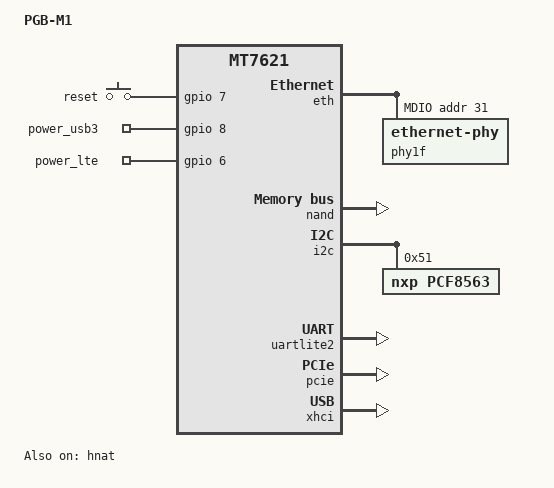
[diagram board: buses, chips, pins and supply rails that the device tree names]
/dts-v1/;

#include "mt7621.dtsi"
#include <dt-bindings/input/input.h>
#include <dt-bindings/gpio/gpio.h>

/ {
	compatible = "mediatek,mt7621-pgb-m1", "mediatek,mt7621-soc";
	model = "PGB-M1";

	chosen {
		bootargs = "console=ttyS0,115200";
	};

	gpio-keys-polled {
		compatible = "gpio-keys-polled";
		#address-cells = <1>;
		#size-cells = <0>;
		poll-interval = <20>;

		reset {
			label = "reset";
			gpios = <&gpio 7 0>;
			linux,code = <KEY_RESTART>;
		};
	};
	gpio_export {
		compatible = "gpio-export";
		#size-cells = <0>;

		power_usb3 {
			gpio-export,name = "power_usb3";
			gpio-export,output = <1>;
			gpios = <&gpio 8 GPIO_ACTIVE_HIGH>;
		};

		power_lte {
			gpio-export,name = "power_lte";
			gpio-export,output = <1>;
			gpios = <&gpio 6 GPIO_ACTIVE_HIGH>;
		};
/*
		power_nvme {
			gpio-export,name = "power_nvme";
			gpio-export,output = <1>;
			gpios = <&gpio 0 GPIO_ACTIVE_HIGH>;
		};
*/
	};
	jffs2-concat {
		compatible = "mtd-concat";
		devices = <&jffsconcat0 &jffsconcat1>;

		partitions {
			compatible = "fixed-partitions";
			#address-cells = <1>;
			#size-cells = <1>;

			partition@0 {
				label = "jffs2";
				reg = <0x0 0x3600000>;
			};
		};
	};
};

&eth {
        status = "okay";

        gmac0: mac@0 {
                compatible = "mediatek,eth-mac";
                reg = <0>;
                phy-mode = "trgmii";
                fixed-link {
                        speed = <1000>;
                        full-duplex;
                        pause;
                };
        };

        gmac1: mac@1 {
                compatible = "mediatek,eth-mac";
                reg = <1>;
                phy-mode = "rgmii";
                fixed-link {
                        speed = <1000>;
                        full-duplex;
                        pause;
                };
        };

        mdio: mdio-bus {
                #address-cells = <1>;
                #size-cells = <0>;

                phy1f: ethernet-phy@1f {
                        reg = <0x1f>;
                        phy-mode = "rgmii";
                };
        };
};

&gsw {
        mediatek,mdio = <&mdio>;
        mediatek,portmap = "llllw";
        mediatek,mcm;
	mt7530,direct-phy-access;

        resets = <&rstctrl 2>;
        reset-names = "mcm";

        port5: port@5 {
                compatible = "mediatek,mt753x-port";
                reg = <5>;
                phy-mode = "rgmii";
                fixed-link {
                        speed = <1000>;
                        full-duplex;
                };
        };

        port6: port@6 {
                compatible = "mediatek,mt753x-port";
                reg = <6>;
                phy-mode = "trgmii";
                fixed-link {
                        speed = <1000>;
                        full-duplex;
                };
        };

        mdio-bus {
                #address-cells = <1>;
                #size-cells = <0>;
        };
};

&hnat {
        mtketh-wan = "eth1";
        mtketh-ppd = "vlan1";
		mtketh-lan = "vlan1";
        ext-devices = "rai0", "ra0", "rai1", "ra1", "rai2", "ra2", "rai3", "ra3", "apclii0", "apcli0";
        mtketh-max-gmac = <2>;
        status = "okay";
};

&nand {
	status = "okay";

	partitions {
		compatible = "fixed-partitions";
		#address-cells = <1>;
		#size-cells = <1>;
			partition@0 {
			label = "Bootloader";
			reg = <0x00000 0xe0000>;
		};
			partition@E0000 {
			label = "nvram";
			reg = <0xE0000 0x100000>;
		};
			factory: partition@1E00000 {
			label = "Factory";
			reg = <0x1E0000 0x100000>;
		};
			factory2: partition@2E0000  {
			label = "Factory2";
			reg = <0x2E0000 0x100000>;
		};
		partition@3E0000 {
			label = "Kernel";
			reg = <0x3E0000 0x2300000>;
		};
			jffsconcat0: partition@26E0000 {
			label = "jffsconcat0";
			reg = <0x26E0000 0xF00000>;
		};
			partition@35E0000 {
			label = "Kernel2";
			reg = <0x35E0000 0x2300000>;
		};
			jffsconcat1: partition@58E0000 {
			label = "jffsconcat1";
			reg = <0x58E0000 0x2700000>;
		};
	};
};

&i2c {
        status = "okay";

        pcf8563: rtc@51 {
            status = "okay";
            compatible = "nxp,pcf8563";
            reg = <0x51>;
        };
};

&pinctrl {
	state_default: pinctrl0 {

		uart2 {
			mtk,group = "uart2";
			mtk,function = "gpio";
		};

		uart3 {
			mtk,group = "uart3";
			mtk,function = "gpio";
		};

		jtag {
			mtk,group = "jtag";
			mtk,function = "gpio";
		};

		wdt {
			mtk,group = "wdt";
			mtk,function = "gpio";
		};
	};
};

&uartlite2 {
	status = "okay";
};

&pcie {
	status = "okay";
};

&xhci {
	status = "okay";
};
